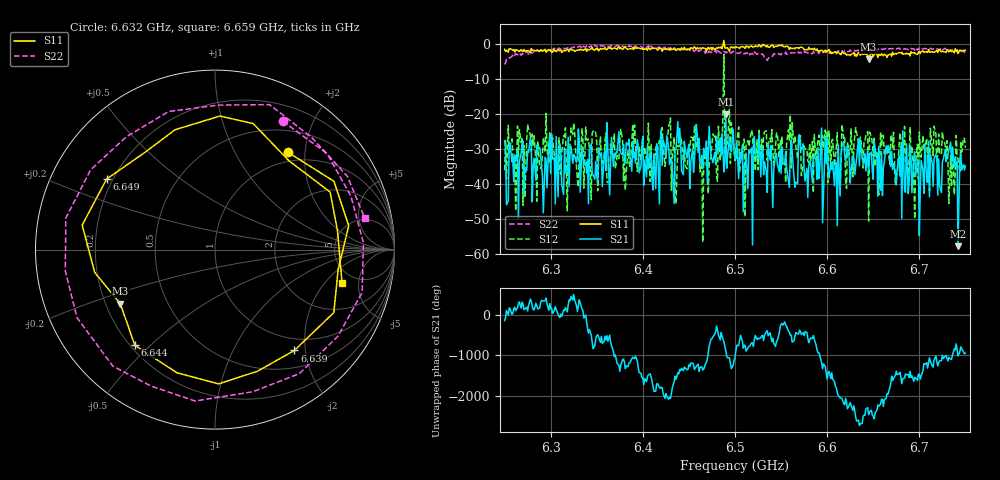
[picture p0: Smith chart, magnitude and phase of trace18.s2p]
# Hz S RI R 50
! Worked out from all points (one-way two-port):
!   401 points, 6.25 GHz to 6.75 GHz, reference 50 ohm
!   highest |S21| = -20.03 dB at 6.49 GHz (marker M1); lowest = -57.7 dB at 6.742 GHz (marker M2)
!   lowest |S11| = -4.3 dB at 6.645 GHz (marker M3), VSWR 4.10, Z = 13 - j12.5 ohm
!   |S11| at or under -10 dB: nowhere
!   |S22| runs from -5.8 to -0.2 dB; largest |S21 - S12| = 0.72
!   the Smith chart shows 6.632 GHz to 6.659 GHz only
!   S11 on the Smith chart (normalised r, x): 6.632 GHz: 0.84, +1.68; 6.639 GHz: 0.78, -1.79; 6.644 GHz: 0.22, -0.45; 6.649 GHz: 0.18, +0.29; 6.659 GHz: 3.90, -3.08
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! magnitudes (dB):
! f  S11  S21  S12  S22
! 6.25 GHz  -1.5  -27.6  -36.0  -5.8
! 6.278 GHz  -2.4  -26.7  -26.0  -2.3
! 6.288 GHz  -2.1  -29.5  -35.0  -1.9
! 6.334 GHz  -1.7  -29.3  -24.0  -1.3
! 6.418 GHz  -1.2  -45.7  -27.5  -0.8
! 6.428 GHz  -1.6  -29.5  -23.3  -1.0
! 6.434 GHz  -1.5  -45.5  -26.5  -1.0
! 6.455 GHz  -1.1  -36.6  -31.5  -1.9
! 6.465 GHz  -1.1  -35.5  -56.6  -1.6
! 6.49 GHz  -1.1  -20.0  -28.5  -2.5
! 6.5 GHz  -1.1  -32.2  -33.3  -2.2
! 6.584 GHz  -1.3  -39.5  -27.8  -2.7
! 6.632 GHz  -3.4  -32.5  -25.3  -1.8
! 6.639 GHz  -2.9  -33.8  -35.4  -1.5
! 6.644 GHz  -3.2  -30.0  -25.0  -1.5
! 6.645 GHz  -4.3  -36.6  -50.5  -1.3
! 6.649 GHz  -2.8  -36.2  -28.3  -1.4
! 6.659 GHz  -2.7  -30.7  -29.3  -1.4
! 6.668 GHz  -2.9  -30.1  -34.4  -1.3
! 6.696 GHz  -2.8  -37.7  -33.9  -1.1
! 6.742 GHz  -2.7  -57.7  -32.8  -2.0
! 6.75 GHz  -1.7  -34.8  -29.6  -2.5
